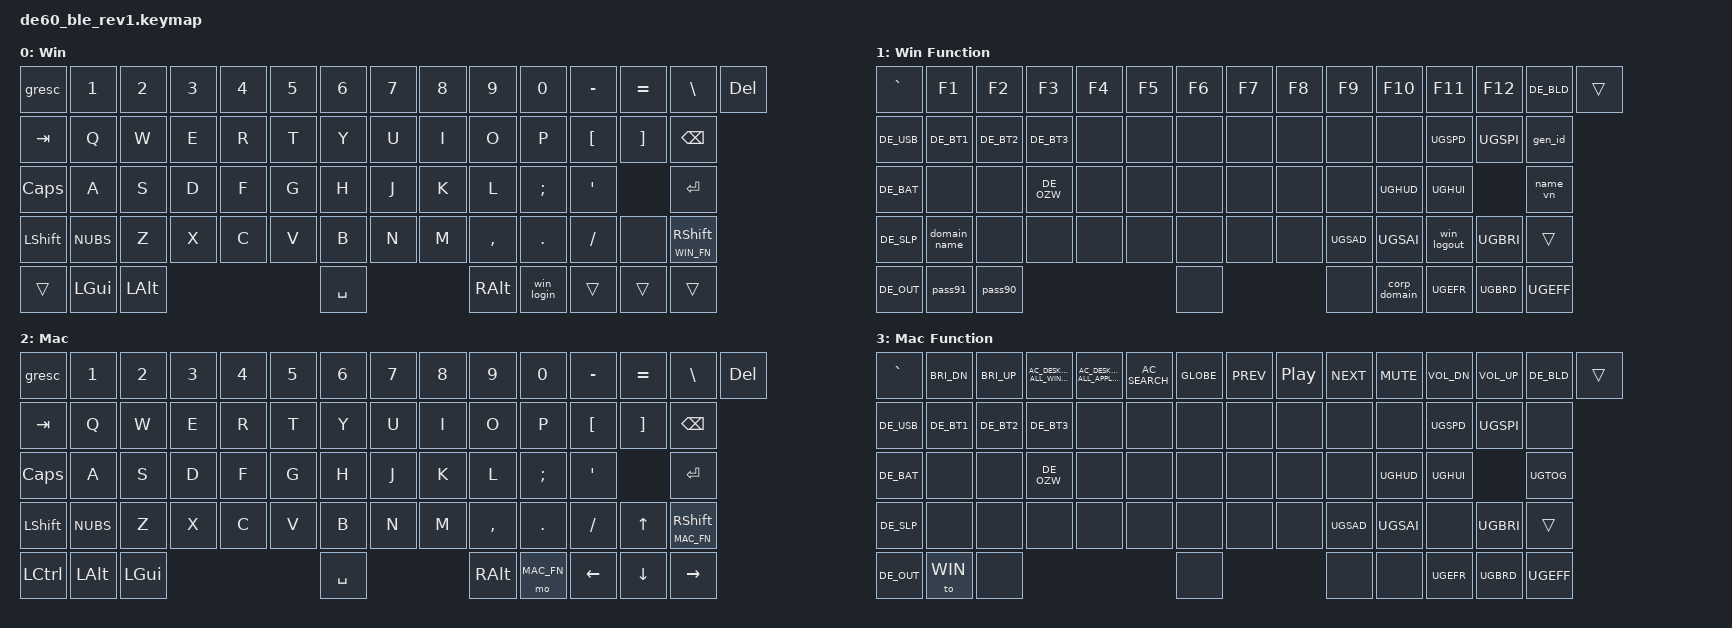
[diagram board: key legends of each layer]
/*
 * Copyright (c) 2026 DEKB
 * SPDX-License-Identifier: MIT
 */

#include "../common.keymap"

#define WIN 0
#define WIN_FN 1
#define MAC 2
#define MAC_FN 3

/ {
    behaviors {
        win_logout: win_logout {
            compatible = "zmk,behavior-macro";
            #binding-cells = <0>;
            display-name = "Win Logout";
            bindings = <&macro_press &kp LGUI>, <&macro_tap &kp L>, <&macro_release &kp LGUI>;
        };

        win_login: win_login {
            compatible = "zmk,behavior-macro";
            #binding-cells = <0>;
            display-name = "Win Login";
            bindings = <&macro_press &kp LCTRL &kp LALT>, <&macro_tap &kp DEL>, <&macro_release &kp LCTRL &kp LALT>;
        };

        pass91: pass91 {
            compatible = "zmk,behavior-macro";
            #binding-cells = <0>;
            display-name = "Pass91";
            wait-ms = <40>;
            tap-ms = <40>;
            bindings = <&macro_press &kp LSHFT>, <&macro_tap &kp H>, <&macro_release &kp LSHFT>, <&macro_tap &kp A &kp I &kp K &kp Y &kp N9 &kp N1 &kp N &kp A &kp EXCL>;
        };

        pass90: pass90 {
            compatible = "zmk,behavior-macro";
            #binding-cells = <0>;
            display-name = "Pass90";
            wait-ms = <40>;
            tap-ms = <40>;
            bindings = <&macro_press &kp LSHFT>, <&macro_tap &kp H>, <&macro_release &kp LSHFT>, <&macro_tap &kp A &kp I &kp K &kp Y &kp N9 &kp N9 &kp N0 &kp N &kp A &kp EXCL>;
        };

        corp_domain: corp_domain {
            compatible = "zmk,behavior-macro";
            #binding-cells = <0>;
            display-name = "Corp Domain";
            wait-ms = <40>;
            tap-ms = <40>;
            bindings = <&kp C &kp O &kp R &kp P &kp BSLH &kp K &kp Y &kp N9 &kp N1 &kp DOT &kp H &kp A &kp I>;
        };

        domain_name: domain_name {
            compatible = "zmk,behavior-macro";
            #binding-cells = <0>;
            display-name = "Domain Name";
            wait-ms = <40>;
            tap-ms = <40>;
            bindings = <&kp K &kp Y &kp N9 &kp N1 &kp DOT &kp H &kp A &kp I>;
        };

        gen_id: gen_id {
            compatible = "zmk,behavior-macro";
            #binding-cells = <0>;
            display-name = "GenID";
            wait-ms = <40>;
            tap-ms = <40>;
            bindings = <&kp N1 &kp N5 &kp N7 &kp N9 &kp N8 &kp N6 &kp N7 &kp N5>;
        };

        name_vn: name_vn {
            compatible = "zmk,behavior-macro";
            #binding-cells = <0>;
            display-name = "Name (Windows Unicode)";
            wait-ms = <40>;
            tap-ms = <40>;
            bindings =
                <&macro_press &kp LSHFT>, <&macro_tap &kp N>, <&macro_release &kp LSHFT>,
                <&macro_tap &kp G &kp U &kp Y>,
                <&macro_press &kp LALT>, <&macro_tap &kp KP_PLUS &kp N1 &kp E &kp C &kp N5>, <&macro_release &kp LALT>,
                <&macro_tap &kp N &kp SPACE>,
                <&macro_press &kp LSHFT>, <&macro_tap &kp H>, <&macro_release &kp LSHFT>,
                <&macro_tap &kp A>,
                <&macro_press &kp LALT>, <&macro_tap &kp KP_PLUS &kp N1 &kp E &kp A &kp N3>, <&macro_release &kp LALT>,
                <&macro_tap &kp I &kp SPACE>,
                <&macro_press &kp LSHFT>, <&macro_tap &kp K>, <&macro_release &kp LSHFT>,
                <&macro_press &kp LALT>, <&macro_tap &kp KP_PLUS &kp N1 &kp E &kp F &kp N7>, <&macro_release &kp LALT>;
        };
    };

    keymap {
        compatible = "zmk,keymap";

        default_layer {
            label = "Win";
            bindings = <
&gresc     &kp N1    &kp N2    &kp N3    &kp N4    &kp N5    &kp N6    &kp N7    &kp N8    &kp N9    &kp N0    &kp MINUS &kp EQUAL &kp BSLH  &kp DEL
&kp TAB    &kp Q     &kp W     &kp E     &kp R     &kp T     &kp Y     &kp U     &kp I     &kp O     &kp P     &kp LBKT  &kp RBKT  &kp BSPC
&kp CAPS   &kp A     &kp S     &kp D     &kp F     &kp G     &kp H     &kp J     &kp K     &kp L     &kp SEMI  &kp SQT             &kp ENTER
&kp LSHFT  &kp NUBS  &kp Z     &kp X     &kp C     &kp V     &kp B     &kp N     &kp M     &kp COMMA &kp DOT   &kp FSLH  &none     &lt WIN_FN RSHFT
&trans     &kp LGUI  &kp LALT                                &kp SPACE                     &kp RALT  &win_login  &trans     &trans     &trans
            >;
        };

        win_function_layer {
            label = "Win Function";
            bindings = <
&kp GRAVE &kp F1    &kp F2    &kp F3    &kp F4    &kp F5    &kp F6    &kp F7    &kp F8    &kp F9    &kp F10   &kp F11   &kp F12   &DE_BLD    &trans
&DE_USB   &DE_BT1   &DE_BT2   &DE_BT3   &none     &none     &none     &none     &none     &none     &none     &UGSPD    &UGSPI    &gen_id
&DE_BAT   &none     &none     &DE_OZW   &none     &none     &none     &none     &none     &none     &UGHUD    &UGHUI              &name_vn
&DE_SLP   &domain_name &none  &none     &none     &none     &none     &none     &none     &UGSAD    &UGSAI    &win_logout &UGBRI &trans
&DE_OUT   &pass91   &pass90                                  &none                         &none     &corp_domain &UGEFR &UGBRD &UGEFF
            >;
        };

        mac_layer {
            label = "Mac";
            bindings = <
&gresc     &kp N1    &kp N2    &kp N3    &kp N4    &kp N5    &kp N6    &kp N7    &kp N8    &kp N9    &kp N0    &kp MINUS &kp EQUAL &kp BSLH  &kp DEL
&kp TAB    &kp Q     &kp W     &kp E     &kp R     &kp T     &kp Y     &kp U     &kp I     &kp O     &kp P     &kp LBKT  &kp RBKT  &kp BSPC
&kp CAPS   &kp A     &kp S     &kp D     &kp F     &kp G     &kp H     &kp J     &kp K     &kp L     &kp SEMI  &kp SQT             &kp ENTER
&kp LSHFT  &kp NUBS  &kp Z     &kp X     &kp C     &kp V     &kp B     &kp N     &kp M     &kp COMMA &kp DOT   &kp FSLH  &kp UP    &lt MAC_FN RSHFT
&kp LCTRL  &kp LALT  &kp LGUI                                &kp SPACE                     &kp RALT  &mo MAC_FN   &kp LEFT  &kp DOWN  &kp RIGHT
            >;
        };

        mac_function_layer {
            label = "Mac Function";
            bindings = <
&kp GRAVE &kp C_BRI_DN &kp C_BRI_UP &kp C_AC_DESKTOP_SHOW_ALL_WINDOWS &kp C_AC_DESKTOP_SHOW_ALL_APPLICATIONS &kp C_AC_SEARCH &kp GLOBE &kp C_PREV &kp C_PP &kp C_NEXT &kp C_MUTE &kp C_VOL_DN &kp C_VOL_UP &DE_BLD &trans
&DE_USB   &DE_BT1   &DE_BT2   &DE_BT3   &none     &none     &none     &none     &none     &none     &none     &UGSPD    &UGSPI    &none
&DE_BAT   &none     &none     &DE_OZW   &none     &none     &none     &none     &none     &none     &UGHUD    &UGHUI              &UGTOG
&DE_SLP   &none     &none     &none     &none     &none     &none     &none     &none     &UGSAD    &UGSAI    &none     &UGBRI    &trans
&DE_OUT   &to WIN   &none                                   &none                         &none     &none     &UGEFR    &UGBRD    &UGEFF
            >;
        };

        layer_4 { status = "reserved"; };
        layer_5 { status = "reserved"; };

    };
};
